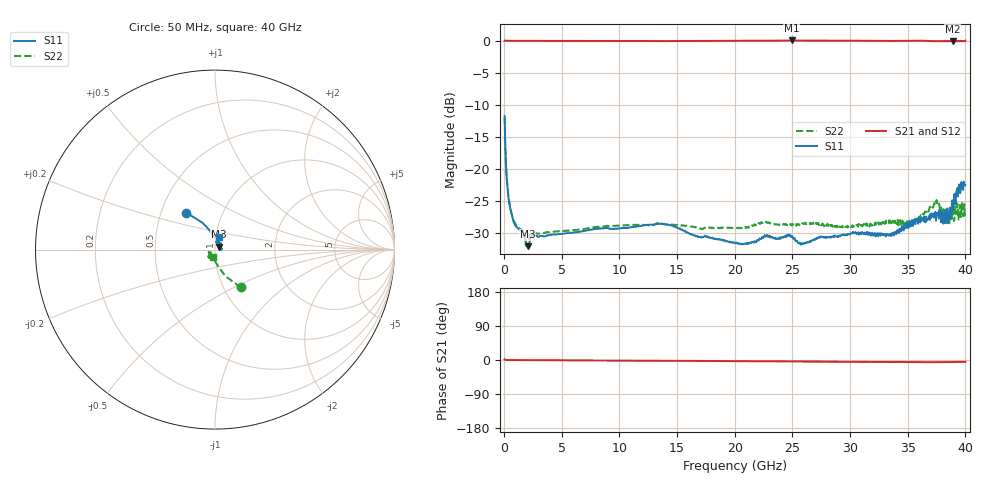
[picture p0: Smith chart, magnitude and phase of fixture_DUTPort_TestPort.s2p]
# Hz S MA R 50.0
!freq magS11 angS11 magS21 angS21 magS12 angS12 magS22 angS22
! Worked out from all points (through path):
!   800 points, 50 MHz to 40 GHz, reference 50 ohm
!   highest |S21| = 0.06 dB at 24.95 GHz (marker M1); lowest = -0.1 dB at 38.9 GHz (marker M2)
!   lowest |S11| = -32.0 dB at 2.05 GHz (marker M3), VSWR 1.05, Z = 52 + j1.64 ohm
!   |S11| at or under -10 dB: start of sweep to end of sweep
!   |S22| runs from -31.4 to -11.9 dB; largest |S21 - S12| = 0.0015
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5e7  0.2604 127.8  1.003 1.7  1.003 1.7  0.255 -55.7
3.5e8  0.06484 88.8  1.003 -0.1  1.003 -0.0  0.06503 -89.2
6e8  0.04686 75.5  1.001 -0.1  1.001 -0.1  0.04689 -104.5
1e9  0.03616 57.6  1 -0.2  1 -0.2  0.03745 -121.6
1.6e9  0.03246 38.9  1 -0.3  1 -0.3  0.0333 -139.1
2.05e9  0.02516 38.9  0.9996 -0.4  0.9997 -0.4  0.02762 -138.0
2.55e9  0.03066 34.8  0.9996 -0.4  0.9999 -0.4  0.03208 -143.9
6.75e9  0.03275 19.1  0.9988 -1.1  0.9987 -1.1  0.03409 -154.7
1.34e10  0.03748 5.9  0.9964 -2.1  0.9962 -2.1  0.03796 -158.0
2.005e10  0.02669 6.6  1.002 -3.0  1.002 -3.0  0.03491 -152.0
2.25e10  0.02961 15.8  1.002 -3.4  1.002 -3.4  0.039 -149.5
2.495e10  0.03025 11.2  1.008 -3.9  1.007 -3.9  0.03645 -147.5
2.57e10  0.02593 15.8  1.006 -4.1  1.005 -4.1  0.03753 -146.1
2.67e10  0.02801 23.8  1.004 -4.2  1.004 -4.2  0.03752 -147.8
3.03e10  0.03185 28.1  1.004 -4.8  1.004 -4.9  0.03611 -140.3
3.335e10  0.03034 38.3  0.9987 -5.3  0.9986 -5.3  0.04 -134.5
3.525e10  0.03582 51.6  1.001 -5.3  1.001 -5.3  0.03737 -124.2
3.75e10  0.04468 52.5  0.9939 -5.7  0.9938 -5.8  0.0575 -127.4
3.83e10  0.03977 60.1  0.995 -5.6  0.9948 -5.6  0.04849 -130.4
3.89e10  0.04743 82.0  0.9906 -5.5  0.9902 -5.6  0.04963 -123.6
3.945e10  0.07611 70.9  0.9975 -4.8  0.9975 -4.8  0.04584 -125.2
4e10  0.07526 71.8  1.004 -4.8  1.004 -4.8  0.04247 -107.9
